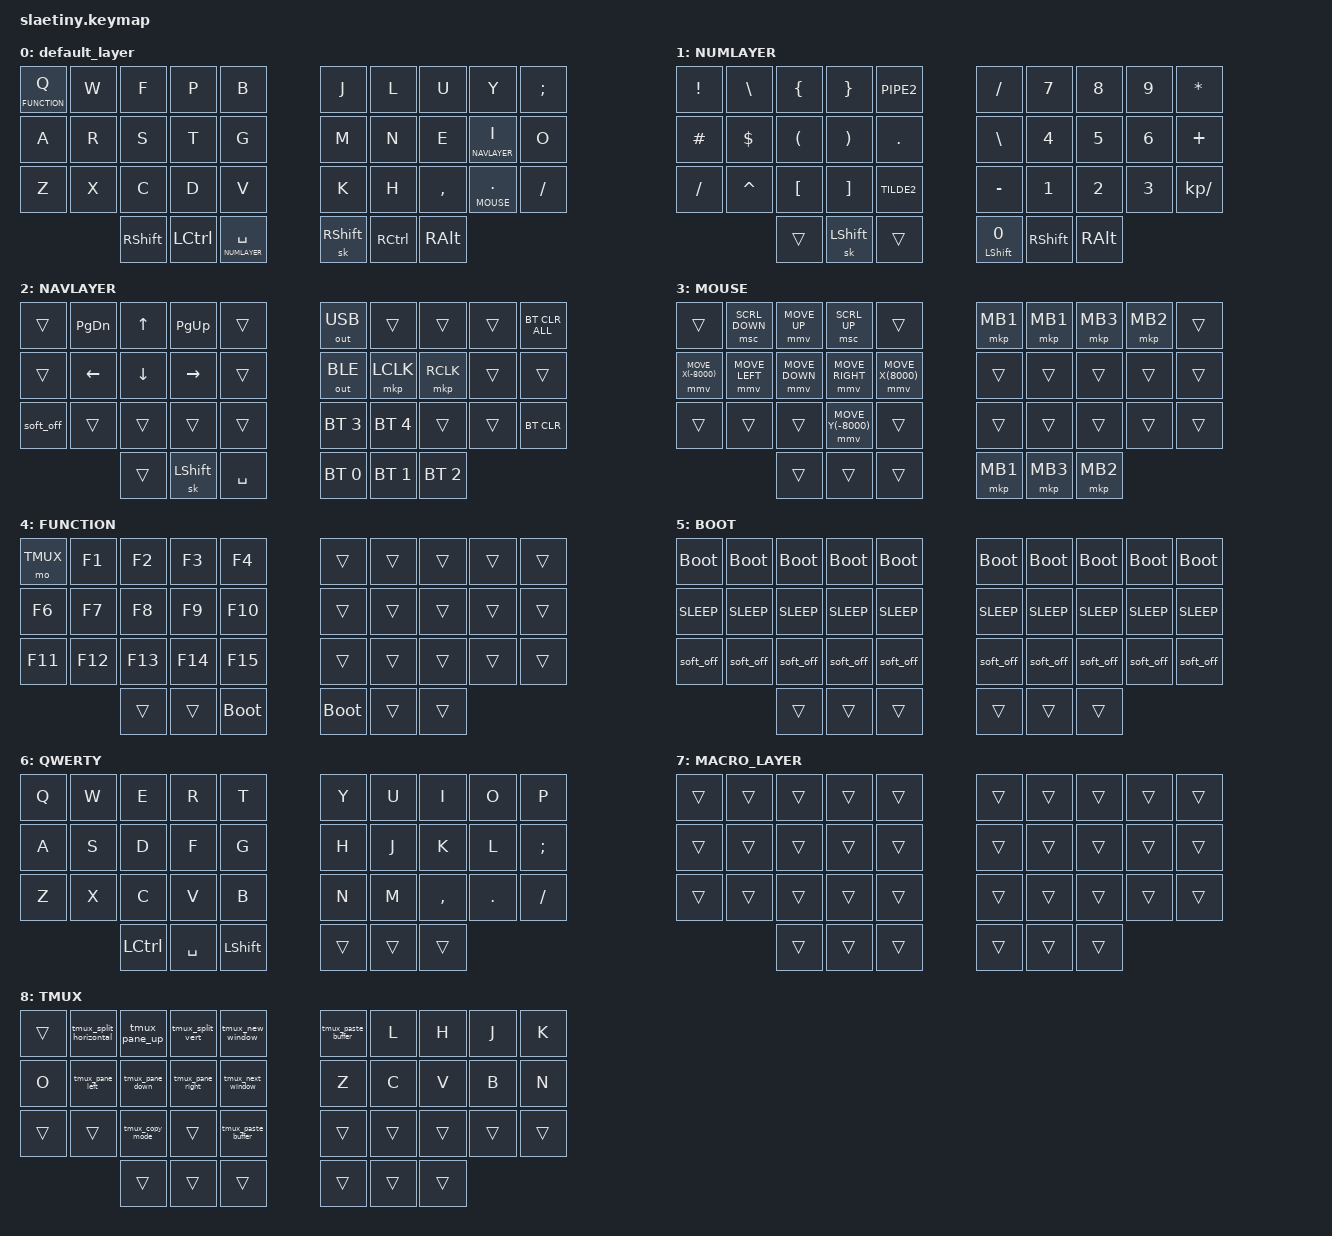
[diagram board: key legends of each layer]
#include <behaviors.dtsi>
#include <dt-bindings/zmk/keys.h>
#include <dt-bindings/zmk/bt.h>
#include <dt-bindings/zmk/outputs.h>
#include <dt-bindings/zmk/pointing.h>

#undef ZMK_POINTING_DEFAULT_MOVE_VAL
#define ZMK_POINTING_DEFAULT_MOVE_VAL 4000
#undef ZMK_POINTING_DEFAULT_SCRL_VAL
#define ZMK_POINTING_DEFAULT_SCRL_VAL 75

#define DEFAULT     0
#define NUMLAYER    1
#define NAVLAYER    2
#define MOUSE       3
#define FUNCTION    4
#define BOOT        5
#define QWERTY      6
#define MACRO_LAYER 7
#define TMUX        8

#include "slaetiny.macros"
#include "slaetiny.combos"
#include "slaetiny.behaviors"

/ {
    keymap {
        compatible = "zmk,keymap";
        
        default_layer {
            bindings = <
                &lt FUNCTION Q  &kp W       &kp F       &kp P       &kp B                   &kp J       &kp L       &kp U       &kp Y               &kp SEMI     
                &kp A           &kp R       &kp S       &kp T       &kp G                   &kp M       &kp N       &kp E       &lt NAVLAYER I      &kp O        
                &kp Z           &kp X       &kp C       &kp D       &kp V                   &kp K       &kp H       &kp COMMA   &lt MOUSE DOT       &kp FSLH     
                                            &kp RSHIFT  &kp LCTRL   &lt NUMLAYER SPACE      &sk RSHIFT  &kp RCTRL   &kp RALT 
            >;
        };
        
        NUMLAYER {
            bindings = <
                &kp EXCL    &kp BSLH    &kp LBRC    &kp RBRC    &kp PIPE2               &kp FSLH                &kp N7      &kp N8     &kp N9   &kp ASTRK          
                &kp HASH    &kp DLLR    &kp LPAR    &kp RPAR    &kp DOT                 &kp BSLH                &kp N4      &kp N5     &kp N6   &kp PLUS            
                &kp FSLH    &kp CARET   &kp LBKT    &kp RBKT    &kp TILDE2              &kp MINUS               &kp N1      &kp N2     &kp N3   &kp KP_DIVIDE      
                                        &trans      &sk LSHIFT  &trans                  &mt LSHIFT NUMBER_0     &kp RSHIFT  &kp RALT
            >;
        };
        
        NAVLAYER {
            bindings = <
                &trans      &kp PG_DN   &kp UP      &kp PG_UP   &trans                  &out OUT_USB    &trans          &trans          &trans  &bt BT_CLR_ALL  
                &trans      &kp LEFT    &kp DOWN    &kp RIGHT   &trans                  &out OUT_BLE    &mkp LCLK       &mkp RCLK       &trans  &trans        
                &soft_off   &trans      &trans      &trans      &trans                  &bt BT_SEL 3    &bt BT_SEL 4    &trans          &trans  &bt BT_CLR    
                                        &trans      &sk LSHIFT  &kp SPACE               &bt BT_SEL 0    &bt BT_SEL 1    &bt BT_SEL 2
            >;
        };
        
        MOUSE { 
            bindings = <
                &trans              &msc SCRL_DOWN  &mmv MOVE_UP    &msc SCRL_UP        &trans                   &mkp MB1      &mkp MB1      &mkp MB3  &mkp MB2  &trans 
                &mmv MOVE_X(-8000)  &mmv MOVE_LEFT  &mmv MOVE_DOWN  &mmv MOVE_RIGHT     &mmv MOVE_X(8000)        &trans        &trans        &trans    &trans    &trans 
                &trans              &trans          &trans          &mmv MOVE_Y(-8000)  &trans                   &trans        &trans        &trans    &trans    &trans 
                                                    &trans          &trans              &trans                   &mkp MB1      &mkp MB3      &mkp MB2                  
            >;
        };
        
        FUNCTION {
            bindings = <
                &mo TMUX    &kp F1  &kp F2  &kp F3  &kp F4                  &trans  &trans  &trans  &trans  &trans 
                &kp F6      &kp F7  &kp F8  &kp F9  &kp F10                 &trans  &trans  &trans  &trans  &trans 
                &kp F11     &kp F12 &kp F13 &kp F14 &kp F15                 &trans  &trans  &trans  &trans  &trans 
                                    &trans  &trans  &bootloader             &bootloader  &trans &trans                
            >;
        };
        
        BOOT {
            bindings = <
                &bootloader     &bootloader     &bootloader     &bootloader     &bootloader             &bootloader     &bootloader     &bootloader     &bootloader     &bootloader 
                &kp K_SLEEP     &kp K_SLEEP     &kp K_SLEEP     &kp K_SLEEP     &kp K_SLEEP             &kp K_SLEEP     &kp K_SLEEP     &kp K_SLEEP     &kp K_SLEEP     &kp K_SLEEP  
                &soft_off       &soft_off       &soft_off       &soft_off       &soft_off               &soft_off       &soft_off       &soft_off       &soft_off       &soft_off 
                                                &trans          &trans          &trans                  &trans          &trans          &trans                  
            >;
        };
        
        QWERTY {
            bindings = <
                &kp Q   &kp W   &kp E   &kp R   &kp T               &kp Y   &kp U   &kp I       &kp O   &kp P
                &kp A   &kp S   &kp D   &kp F   &kp G               &kp H   &kp J   &kp K       &kp L   &kp SEMI  
                &kp Z   &kp X   &kp C   &kp V   &kp B               &kp N   &kp M   &kp COMMA   &kp DOT &kp FSLH 
                                &kp LCTRL   &kp SPACE    &kp LSHIFT       &trans      &trans      &trans                
            >;
        };
        
        MACRO_LAYER {
            bindings = <
                &trans  &trans  &trans  &trans  &trans                  &trans  &trans  &trans  &trans  &trans 
                &trans  &trans  &trans  &trans  &trans                  &trans  &trans  &trans  &trans  &trans 
                &trans  &trans  &trans  &trans  &trans                  &trans  &trans  &trans  &trans  &trans 
                                &trans      &trans    &trans        &trans  &trans &trans                
            >;
        };    
        
        TMUX {
            bindings = <
                &trans  &tmux_split_horizontal  &tmux_pane_up    &tmux_split_vert   &tmux_new_window        &tmux_paste_buffer   &kp L      &kp H   &kp J      &kp K
                &kp O   &tmux_pane_left         &tmux_pane_down  &tmux_pane_right   &tmux_next_window       &kp Z                &kp C      &kp V   &kp B      &kp N
                &trans  &trans                  &tmux_copy_mode  &trans             &tmux_paste_buffer      &trans               &trans     &trans  &trans     &trans
                                                &trans           &trans             &trans                  &trans               &trans     &trans 
            >;
        };    
    };
};
/* ++You will never find what you seek... stop looking++ */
